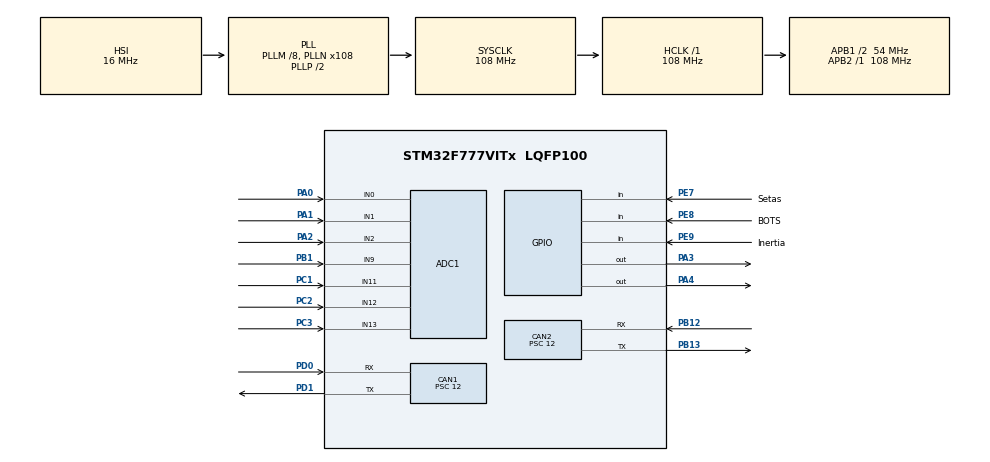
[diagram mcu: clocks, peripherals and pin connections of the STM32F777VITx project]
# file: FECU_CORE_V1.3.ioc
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ADC1.Channel-0\#ChannelRegularConversion=ADC_CHANNEL_0
ADC1.Channel-1\#ChannelRegularConversion=ADC_CHANNEL_1
ADC1.Channel-2\#ChannelRegularConversion=ADC_CHANNEL_2
ADC1.Channel-3\#ChannelRegularConversion=ADC_CHANNEL_9
ADC1.Channel-4\#ChannelRegularConversion=ADC_CHANNEL_11
ADC1.Channel-5\#ChannelRegularConversion=ADC_CHANNEL_12
ADC1.Channel-6\#ChannelRegularConversion=ADC_CHANNEL_13
ADC1.ContinuousConvMode=ENABLE
ADC1.DMAContinuousRequests=ENABLE
ADC1.EOCSelection=ADC_EOC_SEQ_CONV
ADC1.EnableAnalogWatchDog=false
ADC1.ExternalTrigConv=ADC_EXTERNALTRIGCONV_T5_TRGO
ADC1.NbrOfConversion=7
ADC1.NbrOfConversionFlag=1
ADC1.Rank-0\#ChannelRegularConversion=1
ADC1.Rank-1\#ChannelRegularConversion=2
ADC1.Rank-2\#ChannelRegularConversion=3
ADC1.Rank-3\#ChannelRegularConversion=4
ADC1.Rank-4\#ChannelRegularConversion=5
ADC1.Rank-5\#ChannelRegularConversion=6
ADC1.Rank-6\#ChannelRegularConversion=7
ADC1.SamplingTime-0\#ChannelRegularConversion=ADC_SAMPLETIME_56CYCLES
ADC1.SamplingTime-1\#ChannelRegularConversion=ADC_SAMPLETIME_56CYCLES
ADC1.SamplingTime-2\#ChannelRegularConversion=ADC_SAMPLETIME_56CYCLES
ADC1.SamplingTime-3\#ChannelRegularConversion=ADC_SAMPLETIME_56CYCLES
ADC1.SamplingTime-4\#ChannelRegularConversion=ADC_SAMPLETIME_56CYCLES
ADC1.SamplingTime-5\#ChannelRegularConversion=ADC_SAMPLETIME_56CYCLES
ADC1.SamplingTime-6\#ChannelRegularConversion=ADC_SAMPLETIME_56CYCLES
ADC1.ScanConvMode=ADC_SCAN_ENABLE
ADC1.master=1
CAN1.BS1=CAN_BS1_6TQ
CAN1.BS2=CAN_BS2_2TQ
CAN1.CalculateBaudRate=500000
CAN1.CalculateTimeBit=2000
CAN1.CalculateTimeQuantum=222.22222222222223
CAN1.Prescaler=12
CAN2.BS1=CAN_BS1_6TQ
CAN2.BS2=CAN_BS2_2TQ
CAN2.CalculateBaudRate=500000
CAN2.CalculateTimeBit=2000
CAN2.CalculateTimeQuantum=222.22222222222223
CAN2.Prescaler=12
CORTEX_M7.default_mode_Activation=1
Dma.ADC1.0.Direction=DMA_PERIPH_TO_MEMORY
Dma.ADC1.0.FIFOMode=DMA_FIFOMODE_DISABLE
Dma.ADC1.0.Instance=DMA2_Stream0
Dma.ADC1.0.MemDataAlignment=DMA_MDATAALIGN_HALFWORD
Dma.ADC1.0.MemInc=DMA_MINC_ENABLE
Dma.ADC1.0.Mode=DMA_CIRCULAR
Dma.ADC1.0.PeriphDataAlignment=DMA_PDATAALIGN_HALFWORD
Dma.ADC1.0.PeriphInc=DMA_PINC_DISABLE
Dma.ADC1.0.Priority=DMA_PRIORITY_LOW
Dma.Request0=ADC1
Mcu.Family=STM32F7
Mcu.Name=STM32F777VITx
Mcu.Package=LQFP100
NVIC.CAN1_RX0_IRQn=true\:1\:0\:true\:false\:true\:true\:true\:true
NVIC.CAN1_RX1_IRQn=true\:1\:0\:true\:false\:true\:true\:true\:true
NVIC.CAN2_RX0_IRQn=true\:1\:0\:true\:false\:true\:true\:true\:true
NVIC.CAN2_RX1_IRQn=true\:1\:0\:true\:false\:true\:true\:true\:true
NVIC.DMA2_Stream0_IRQn=true\:0\:0\:false\:false\:true\:false\:true\:true
NVIC.PriorityGroup=NVIC_PRIORITYGROUP_4
PA0/WKUP.Signal=ADCx_IN0
PA1.Signal=ADCx_IN1
PA2.Signal=ADCx_IN2
PA3.Signal=GPIO_Output
PA4.Signal=GPIO_Output
PB1.Signal=ADCx_IN9
PB12.Mode=CAN_Activate
PB12.Signal=CAN2_RX
PB13.Mode=CAN_Activate
PB13.Signal=CAN2_TX
PC1.Signal=ADCx_IN11
PC2.Signal=ADCx_IN12
PC3.Signal=ADCx_IN13
PD0.Mode=CAN_Activate
PD0.Signal=CAN1_RX
PD1.Mode=CAN_Activate
PD1.Signal=CAN1_TX
PE7.GPIO_Label=Setas
PE7.Signal=GPIO_Input
PE8.GPIO_Label=BOTS
PE8.Signal=GPIO_Input
PE9.GPIO_Label=Inertia
PE9.Signal=GPIO_Input
ProjectManager.HeapSize=0x200
ProjectManager.StackSize=0x400
ProjectManager.TargetToolchain=STM32CubeIDE
RCC.AHBFreq_Value=108000000
RCC.APB1CLKDivider=RCC_HCLK_DIV2
RCC.APB1Freq_Value=54000000
RCC.APB1TimFreq_Value=108000000
RCC.APB2Freq_Value=108000000
RCC.APB2TimFreq_Value=108000000
RCC.CortexFreq_Value=108000000
RCC.HCLKFreq_Value=108000000
RCC.HSE_VALUE=25000000
RCC.HSI_VALUE=16000000
RCC.LSE_VALUE=32768
RCC.PLLM=8
RCC.PLLN=108
RCC.SYSCLKFreq_VALUE=108000000
RCC.SYSCLKSource=RCC_SYSCLKSOURCE_PLLCLK
RCC.USBFreq_Value=108000000
RCC.VCOOutputFreq_Value=216000000
SH.ADCx_IN0.0=ADC1_IN0,IN0
SH.ADCx_IN1.0=ADC1_IN1,IN1
SH.ADCx_IN11.0=ADC1_IN11,IN11
SH.ADCx_IN12.0=ADC1_IN12,IN12
SH.ADCx_IN13.0=ADC1_IN13,IN13
SH.ADCx_IN2.0=ADC1_IN2,IN2
SH.ADCx_IN9.0=ADC1_IN9,IN9
TIM5.Period=25000
TIM5.Prescaler=108
TIM5.TIM_MasterOutputTrigger=TIM_TRGO_UPDATE
VP_TIM5_VS_ClockSourceINT.Mode=Internal
board=custom

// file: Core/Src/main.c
/* USER CODE BEGIN Header */
/**
  ******************************************************************************
  * @file           : main.c
  * @brief          : Main program body
  ******************************************************************************
  * @attention
  *
  * Copyright (c) 2024 STMicroelectronics.
  * All rights reserved.
  *
  * This software is licensed under terms that can be found in the LICENSE file
  * in the root directory of this software component.
  * If no LICENSE file comes with this software, it is provided AS-IS.
  *
  ******************************************************************************
  */
/* USER CODE END Header */
#include "main.h"

/* USER CODE BEGIN Includes */
#include "can_comunication.h"

/* USER CODE END Includes */

ADC_HandleTypeDef hadc1;
DMA_HandleTypeDef hdma_adc1;

CAN_HandleTypeDef hcan1;
CAN_HandleTypeDef hcan2;

TIM_HandleTypeDef htim5;

/* USER CODE BEGIN PV */
uint8_t KA;
uint16_t adc_buffer[7];
uint16_t APPS1;
uint16_t APPS2;
uint16_t BrakePedal;
uint16_t SteeringSensor;
uint16_t Suspe_F_R;
uint16_t Suspe_F_L;
uint8_t SDC_Bots;
uint8_t SDC_Intertia;
uint8_t SDC_Setas;
uint8_t SDC;
/* USER CODE BEGIN PV */

/* USER CODE END PV */

void SystemClock_Config(void);
static void MPU_Config(void);
static void MX_GPIO_Init(void);
static void MX_DMA_Init(void);
static void MX_ADC1_Init(void);
static void MX_TIM5_Init(void);
static void MX_CAN1_Init(void);
static void MX_CAN2_Init(void);
/* USER CODE BEGIN PFP */

CAN_RxHeaderTypeDef RxHeader;
CAN_TxHeaderTypeDef TxHeader;
CAN_FilterTypeDef canfil;
CAN_FilterTypeDef canfil2;
uint8_t RxData[30];
uint8_t TxData[30];

/* USER CODE END PFP */

int main(void)
{

  /* MPU Configuration--------------------------------------------------------*/
  MPU_Config();

  /* MCU Configuration--------------------------------------------------------*/

  /* Reset of all peripherals, Initializes the Flash interface and the Systick. */
  HAL_Init();

  /* Configure the system clock */
  SystemClock_Config();

  /* Initialize all configured peripherals */
  MX_GPIO_Init();
  MX_DMA_Init();
  MX_ADC1_Init();
  MX_TIM5_Init();
  MX_CAN1_Init();
  MX_CAN2_Init();
  /* USER CODE BEGIN 2 */

  CAN1_FILTER_INIT(&canfil);												//CAN 1 Filter
  CAN2_FILTER_INIT(&canfil2);											//CAN 2 Filter

  CAN1_CONFIG_INIT(canfil, hcan1);										//CAN 1 Configuration - Initialization
  CAN2_CONFIG_INIT(canfil2, hcan2);

  HAL_TIM_Base_Start(&htim5);
  //HAL_TIM_Base_Start_IT(&htim14);
  HAL_ADC_Start_DMA(&hadc1,(uint32_t*) adc_buffer, 7);
  /* USER CODE END 2 */

  /* Infinite loop */
  while (1)
  {

  }
}

void SystemClock_Config(void)
{
  RCC_OscInitTypeDef RCC_OscInitStruct = {0};
  RCC_ClkInitTypeDef RCC_ClkInitStruct = {0};

  /** Configure the main internal regulator output voltage
  */
  __HAL_RCC_PWR_CLK_ENABLE();
  __HAL_PWR_VOLTAGESCALING_CONFIG(PWR_REGULATOR_VOLTAGE_SCALE3);

  /** Initializes the RCC Oscillators according to the specified parameters
  * in the RCC_OscInitTypeDef structure.
  */
  RCC_OscInitStruct.OscillatorType = RCC_OSCILLATORTYPE_HSI;
  RCC_OscInitStruct.HSIState = RCC_HSI_ON;
  RCC_OscInitStruct.HSICalibrationValue = RCC_HSICALIBRATION_DEFAULT;
  RCC_OscInitStruct.PLL.PLLState = RCC_PLL_ON;
  RCC_OscInitStruct.PLL.PLLSource = RCC_PLLSOURCE_HSI;
  RCC_OscInitStruct.PLL.PLLM = 8;
  RCC_OscInitStruct.PLL.PLLN = 108;
  RCC_OscInitStruct.PLL.PLLP = RCC_PLLP_DIV2;
  RCC_OscInitStruct.PLL.PLLQ = 2;
  RCC_OscInitStruct.PLL.PLLR = 2;
  if (HAL_RCC_OscConfig(&RCC_OscInitStruct) != HAL_OK)
  {
    Error_Handler();
  }

  /** Activate the Over-Drive mode
  */
  if (HAL_PWREx_EnableOverDrive() != HAL_OK)
  {
    Error_Handler();
  }

  /** Initializes the CPU, AHB and APB buses clocks
  */
  RCC_ClkInitStruct.ClockType = RCC_CLOCKTYPE_HCLK|RCC_CLOCKTYPE_SYSCLK
                              |RCC_CLOCKTYPE_PCLK1|RCC_CLOCKTYPE_PCLK2;
  RCC_ClkInitStruct.SYSCLKSource = RCC_SYSCLKSOURCE_PLLCLK;
  RCC_ClkInitStruct.AHBCLKDivider = RCC_SYSCLK_DIV1;
  RCC_ClkInitStruct.APB1CLKDivider = RCC_HCLK_DIV2;
  RCC_ClkInitStruct.APB2CLKDivider = RCC_HCLK_DIV1;

  if (HAL_RCC_ClockConfig(&RCC_ClkInitStruct, FLASH_LATENCY_3) != HAL_OK)
  {
    Error_Handler();
  }
}

static void MX_ADC1_Init(void)
{

  ADC_ChannelConfTypeDef sConfig = {0};

  /** Configure the global features of the ADC (Clock, Resolution, Data Alignment and number of conversion)
  */
  hadc1.Instance = ADC1;
  hadc1.Init.ClockPrescaler = ADC_CLOCK_SYNC_PCLK_DIV4;
  hadc1.Init.Resolution = ADC_RESOLUTION_12B;
  hadc1.Init.ScanConvMode = ADC_SCAN_ENABLE;
  hadc1.Init.ContinuousConvMode = ENABLE;
  hadc1.Init.DiscontinuousConvMode = DISABLE;
  hadc1.Init.ExternalTrigConvEdge = ADC_EXTERNALTRIGCONVEDGE_RISING;
  hadc1.Init.ExternalTrigConv = ADC_EXTERNALTRIGCONV_T5_TRGO;
  hadc1.Init.DataAlign = ADC_DATAALIGN_RIGHT;
  hadc1.Init.NbrOfConversion = 7;
  hadc1.Init.DMAContinuousRequests = ENABLE;
  hadc1.Init.EOCSelection = ADC_EOC_SEQ_CONV;
  if (HAL_ADC_Init(&hadc1) != HAL_OK)
  {
    Error_Handler();
  }

  /** Configure for the selected ADC regular channel its corresponding rank in the sequencer and its sample time.
  */
  sConfig.Channel = ADC_CHANNEL_0;
  sConfig.Rank = ADC_REGULAR_RANK_1;
  sConfig.SamplingTime = ADC_SAMPLETIME_56CYCLES;
  if (HAL_ADC_ConfigChannel(&hadc1, &sConfig) != HAL_OK)
  {
    Error_Handler();
  }

  /** Configure for the selected ADC regular channel its corresponding rank in the sequencer and its sample time.
  */
  sConfig.Channel = ADC_CHANNEL_1;
  sConfig.Rank = ADC_REGULAR_RANK_2;
  if (HAL_ADC_ConfigChannel(&hadc1, &sConfig) != HAL_OK)
  {
    Error_Handler();
  }

  /** Configure for the selected ADC regular channel its corresponding rank in the sequencer and its sample time.
  */
  sConfig.Channel = ADC_CHANNEL_2;
  sConfig.Rank = ADC_REGULAR_RANK_3;
  if (HAL_ADC_ConfigChannel(&hadc1, &sConfig) != HAL_OK)
  {
    Error_Handler();
  }

  /** Configure for the selected ADC regular channel its corresponding rank in the sequencer and its sample time.
  */
  sConfig.Channel = ADC_CHANNEL_9;
  sConfig.Rank = ADC_REGULAR_RANK_4;
  if (HAL_ADC_ConfigChannel(&hadc1, &sConfig) != HAL_OK)
  {
    Error_Handler();
  }

  /** Configure for the selected ADC regular channel its corresponding rank in the sequencer and its sample time.
  */
  sConfig.Channel = ADC_CHANNEL_11;
  sConfig.Rank = ADC_REGULAR_RANK_5;
  if (HAL_ADC_ConfigChannel(&hadc1, &sConfig) != HAL_OK)
  {
    Error_Handler();
  }

  /** Configure for the selected ADC regular channel its corresponding rank in the sequencer and its sample time.
  */
  sConfig.Channel = ADC_CHANNEL_12;
  sConfig.Rank = ADC_REGULAR_RANK_6;
  if (HAL_ADC_ConfigChannel(&hadc1, &sConfig) != HAL_OK)
  {
    Error_Handler();
  }

  /** Configure for the selected ADC regular channel its corresponding rank in the sequencer and its sample time.
  */
  sConfig.Channel = ADC_CHANNEL_13;
  sConfig.Rank = ADC_REGULAR_RANK_7;
  if (HAL_ADC_ConfigChannel(&hadc1, &sConfig) != HAL_OK)
  {
    Error_Handler();
  }

}

static void MX_CAN1_Init(void)
{

  hcan1.Instance = CAN1;
  hcan1.Init.Prescaler = 12;
  hcan1.Init.Mode = CAN_MODE_NORMAL;
  hcan1.Init.SyncJumpWidth = CAN_SJW_1TQ;
  hcan1.Init.TimeSeg1 = CAN_BS1_6TQ;
  hcan1.Init.TimeSeg2 = CAN_BS2_2TQ;
  hcan1.Init.TimeTriggeredMode = DISABLE;
  hcan1.Init.AutoBusOff = DISABLE;
  hcan1.Init.AutoWakeUp = DISABLE;
  hcan1.Init.AutoRetransmission = DISABLE;
  hcan1.Init.ReceiveFifoLocked = DISABLE;
  hcan1.Init.TransmitFifoPriority = DISABLE;
  if (HAL_CAN_Init(&hcan1) != HAL_OK)
  {
    Error_Handler();
  }

}

static void MX_CAN2_Init(void)
{

  hcan2.Instance = CAN2;
  hcan2.Init.Prescaler = 12;
  hcan2.Init.Mode = CAN_MODE_NORMAL;
  hcan2.Init.SyncJumpWidth = CAN_SJW_1TQ;
  hcan2.Init.TimeSeg1 = CAN_BS1_6TQ;
  hcan2.Init.TimeSeg2 = CAN_BS2_2TQ;
  hcan2.Init.TimeTriggeredMode = DISABLE;
  hcan2.Init.AutoBusOff = DISABLE;
  hcan2.Init.AutoWakeUp = DISABLE;
  hcan2.Init.AutoRetransmission = DISABLE;
  hcan2.Init.ReceiveFifoLocked = DISABLE;
  hcan2.Init.TransmitFifoPriority = DISABLE;
  if (HAL_CAN_Init(&hcan2) != HAL_OK)
  {
    Error_Handler();
  }

}

static void MX_TIM5_Init(void)
{

  TIM_ClockConfigTypeDef sClockSourceConfig = {0};
  TIM_MasterConfigTypeDef sMasterConfig = {0};

  htim5.Instance = TIM5;
  htim5.Init.Prescaler = 108;
  htim5.Init.CounterMode = TIM_COUNTERMODE_UP;
  htim5.Init.Period = 25000;
  htim5.Init.ClockDivision = TIM_CLOCKDIVISION_DIV1;
  htim5.Init.AutoReloadPreload = TIM_AUTORELOAD_PRELOAD_DISABLE;
  if (HAL_TIM_Base_Init(&htim5) != HAL_OK)
  {
    Error_Handler();
  }
  sClockSourceConfig.ClockSource = TIM_CLOCKSOURCE_INTERNAL;
  if (HAL_TIM_ConfigClockSource(&htim5, &sClockSourceConfig) != HAL_OK)
  {
    Error_Handler();
  }
  sMasterConfig.MasterOutputTrigger = TIM_TRGO_UPDATE;
  sMasterConfig.MasterSlaveMode = TIM_MASTERSLAVEMODE_DISABLE;
  if (HAL_TIMEx_MasterConfigSynchronization(&htim5, &sMasterConfig) != HAL_OK)
  {
    Error_Handler();
  }

}

static void MX_DMA_Init(void)
{

  /* DMA controller clock enable */
  __HAL_RCC_DMA2_CLK_ENABLE();

  /* DMA interrupt init */
  /* DMA2_Stream0_IRQn interrupt configuration */
  HAL_NVIC_SetPriority(DMA2_Stream0_IRQn, 0, 0);
  HAL_NVIC_EnableIRQ(DMA2_Stream0_IRQn);

}

static void MX_GPIO_Init(void)
{
  GPIO_InitTypeDef GPIO_InitStruct = {0};

  /* GPIO Ports Clock Enable */
  __HAL_RCC_GPIOC_CLK_ENABLE();
  __HAL_RCC_GPIOA_CLK_ENABLE();
  __HAL_RCC_GPIOB_CLK_ENABLE();
  __HAL_RCC_GPIOE_CLK_ENABLE();
  __HAL_RCC_GPIOD_CLK_ENABLE();

  /*Configure GPIO pin Output Level */
  HAL_GPIO_WritePin(GPIOA, GPIO_PIN_3|GPIO_PIN_4, GPIO_PIN_RESET);

  /*Configure GPIO pins : PA3 PA4 */
  GPIO_InitStruct.Pin = GPIO_PIN_3|GPIO_PIN_4;
  GPIO_InitStruct.Mode = GPIO_MODE_OUTPUT_PP;
  GPIO_InitStruct.Pull = GPIO_NOPULL;
  GPIO_InitStruct.Speed = GPIO_SPEED_FREQ_LOW;
  HAL_GPIO_Init(GPIOA, &GPIO_InitStruct);

  /*Configure GPIO pins : Setas_Pin BOTS_Pin Inertia_Pin */
  GPIO_InitStruct.Pin = Setas_Pin|BOTS_Pin|Inertia_Pin;
  GPIO_InitStruct.Mode = GPIO_MODE_INPUT;
  GPIO_InitStruct.Pull = GPIO_NOPULL;
  HAL_GPIO_Init(GPIOE, &GPIO_InitStruct);

}

/* USER CODE BEGIN 4 */

void HAL_CAN_RxFifo0MsgPendingCallback(CAN_HandleTypeDef *hcan)
 {
	/*
   if(HAL_CAN_GetRxMessage(hcan, CAN_RX_FIFO0, &RxHeader, RxData) != HAL_OK){ //missatge rebut per CAN1
   }
   */
 }

void HAL_CAN_RxFifo1MsgPendingCallback(CAN_HandleTypeDef *hcan)
 {
	/*
   if(HAL_CAN_GetRxMessage(hcan, CAN_RX_FIFO1, &RxHeader, RxData) != HAL_OK){ //missatge rebut per CAN2
   }
   */
	   if(RxHeader.StdId == ETAS_SYNC){
		   message_cantx_FECU_Keep_Alive(hcan2, KA, TxData, TxHeader);
		   KA++;
		   /*
		   SDC_Setas=HAL_GPIO_ReadPin(GPIOE, GPIO_PIN_7);
		   SDC_Bots=HAL_GPIO_ReadPin(GPIOE, GPIO_PIN_8);
		   SDC_Intertia=HAL_GPIO_ReadPin(GPIOE, GPIO_PIN_9);
		   SDC=SDC_Setas<<2 | SDC_Intertia<<1 | SDC_Bots;
		   */
		   message_cantx_FECU_Data1(hcan2, APPS1, APPS2, BrakePedal, SteeringSensor,TxData, TxHeader);
		   message_cantx_FECU_Data2(hcan2, Suspe_F_R, Suspe_F_L, 7, TxData, TxHeader);
	      }
   }

void HAL_ADC_ConvCpltCallback(ADC_HandleTypeDef *hadc){
	   APPS1 = adc_buffer[0];
	   APPS2 = (4095-adc_buffer[1])/2;
	   BrakePedal = adc_buffer[2];
	   //PitotSensor = adc_buffer[3];
	   SteeringSensor = adc_buffer[4];
	   Suspe_F_R = adc_buffer[5];
	   Suspe_F_L = adc_buffer[6];
}

/*
void HAL_TIM_PeriodElapsedCallback(TIM_HandleTypeDef* htim){
	if (htim->Instance == TIM14)
	  {
		SDC_Setas=HAL_GPIO_ReadPin(GPIOE, GPIO_PIN_7);
		SDC_Bots=HAL_GPIO_ReadPin(GPIOE, GPIO_PIN_8);
		SDC_Intertia=HAL_GPIO_ReadPin(GPIOE, GPIO_PIN_9);
		SDC=SDC_Setas<<2 | SDC_Intertia<<1 | SDC_Bots;
	  }
}
*/
/* USER CODE END 4 */

 /* MPU Configuration */

void MPU_Config(void)
{
  MPU_Region_InitTypeDef MPU_InitStruct = {0};

  /* Disables the MPU */
  HAL_MPU_Disable();

  /** Initializes and configures the Region and the memory to be protected
  */
  MPU_InitStruct.Enable = MPU_REGION_ENABLE;
  MPU_InitStruct.Number = MPU_REGION_NUMBER0;
  MPU_InitStruct.BaseAddress = 0x0;
  MPU_InitStruct.Size = MPU_REGION_SIZE_4GB;
  MPU_InitStruct.SubRegionDisable = 0x87;
  MPU_InitStruct.TypeExtField = MPU_TEX_LEVEL0;
  MPU_InitStruct.AccessPermission = MPU_REGION_NO_ACCESS;
  MPU_InitStruct.DisableExec = MPU_INSTRUCTION_ACCESS_DISABLE;
  MPU_InitStruct.IsShareable = MPU_ACCESS_SHAREABLE;
  MPU_InitStruct.IsCacheable = MPU_ACCESS_NOT_CACHEABLE;
  MPU_InitStruct.IsBufferable = MPU_ACCESS_NOT_BUFFERABLE;

  HAL_MPU_ConfigRegion(&MPU_InitStruct);
  /* Enables the MPU */
  HAL_MPU_Enable(MPU_PRIVILEGED_DEFAULT);

}

void Error_Handler(void)
{
  __disable_irq();
  while (1)
  {
  }
}
